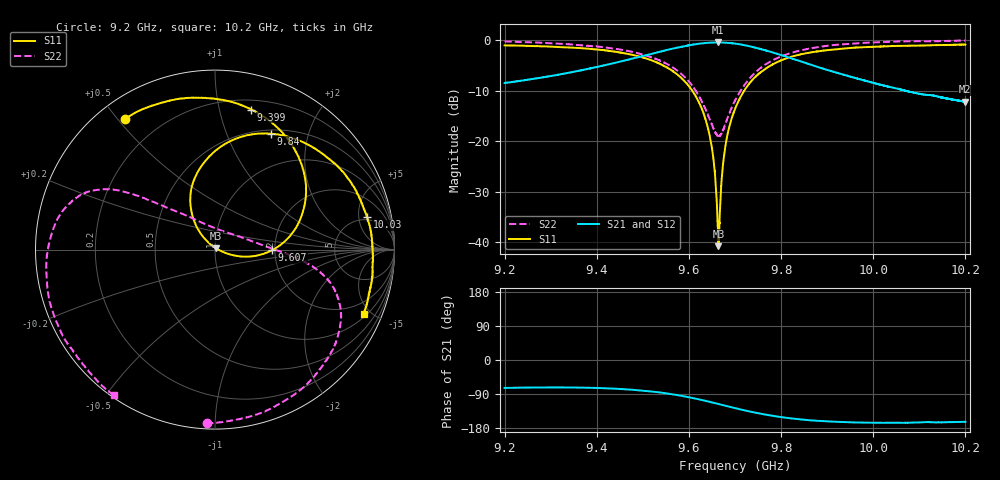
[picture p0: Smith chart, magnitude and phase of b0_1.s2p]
!Agilent Technologies,N5242A,MY51221714,A.09.90.19
!Agilent N5242A: A.09.90.19
!Date: Saturday, December 30, 2023 10:19:05
!Correction: S11(Full 2 Port(1,2))
!S21(Full 2 Port(1,2))
!S12(Full 2 Port(1,2))
!S22(Full 2 Port(1,2))
!S2P File: Measurements: S11, S21, S12, S22:
# Hz S  dB  R 50
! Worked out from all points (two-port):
!   16001 points, 9.2 GHz to 10.2 GHz, reference 50 ohm
!   highest |S21| = -0.48 dB at 9.664 GHz (marker M1); lowest = -12.2 dB at 10.2 GHz (marker M2)
!   |S21| within 3 dB of the highest: 9.486 GHz to 9.817 GHz (330.8 MHz wide, 3.43 % of centre); 9.816823 GHz to 9.81691 GHz (87.37 kHz wide, 0.00089 % of centre)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
!   lowest |S11| = -40.8 dB at 9.664 GHz (marker M3), VSWR 1.02, Z = 50.6 + j0.678 ohm
!   |S11| at or under -10 dB: 9.606867 GHz to 9.606899 GHz (31.23 kHz wide, 0.000325 % of centre); 9.607 GHz to 9.72 GHz (113.4 MHz wide, 1.17 % of centre)
!   |S22| runs from -19.0 to -0.1 dB; largest |S21 - S12| = 0.014
!   S11 on the Smith chart (normalised r, x): 9.2 GHz: 0.08, +0.52; 9.399 GHz: 0.28, +1.25; 9.607 GHz: 1.93, -0.01; 9.84 GHz: 0.54, +1.45; 10.03 GHz: 4.47, +6.50; 10.2 GHz: 1.18, -4.55
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9.2e9  -1.07 124.8  -8.51 -73.6  -8.50 -74.3  -0.27 -92.8
9.366688e9  -1.62 84.5  -5.99 -72.9  -5.97 -73.7  -1.04 -48.8
9.399188e9  -1.88 75.5  -5.37 -73.8  -5.34 -74.5  -1.28 -40.8
9.533375e9  -4.56 31.1  -2.41 -85.1  -2.41 -85.8  -3.93 -14.1
9.60675e9  -9.97 -0.6  -0.94 -99.9  -0.93 -100.7  -9.01 -1.3
9.629375e9  -13.96 -10.9  -0.66 -106.0  -0.65 -106.7  -12.40 8.6
9.645188e9  -19.01 -16.9  -0.54 -110.5  -0.53 -111.2  -15.65 24.2
9.654e9  -24.22 -17.6  -0.50 -113.1  -0.49 -113.8  -17.69 40.0
9.6635e9  -39.39 32.6  -0.48 -116.0  -0.48 -116.7  -19.01 66.5
9.664e9  -40.82 47.4  -0.49 -116.1  -0.49 -116.8  -18.96 67.9
9.667062e9  -34.16 117.1  -0.49 -117.0  -0.48 -117.6  -18.93 78.3
9.672938e9  -25.53 132.6  -0.50 -118.8  -0.49 -119.4  -18.09 95.7
9.678875e9  -21.16 133.4  -0.53 -120.6  -0.52 -121.3  -16.66 108.9
9.7e9  -13.71 125.1  -0.72 -127.0  -0.69 -127.6  -12.00 130.3
9.750625e9  -6.77 100.7  -1.67 -140.5  -1.66 -141.3  -5.91 144.6
9.840062e9  -2.89 64.3  -4.15 -156.5  -4.15 -157.2  -2.11 156.0
9.866688e9  -2.42 55.4  -4.95 -159.4  -4.95 -160.1  -1.61 160.1
9.949625e9  -1.57 31.5  -7.23 -164.4  -7.24 -165.0  -0.75 175.8
1.002925e10  -1.24 12.0  -9.14 -165.7  -9.14 -166.4  -0.37 -166.8
1.003338e10  -1.23 11.0  -9.23 -165.7  -9.23 -166.4  -0.36 -165.8
1.019962e10  -0.89 -23.2  -12.22 -163.0  -12.20 -164.0  -0.11 -124.8
1.02e10  -0.89 -23.3  -12.22 -163.1  -12.22 -163.9  -0.11 -124.7
